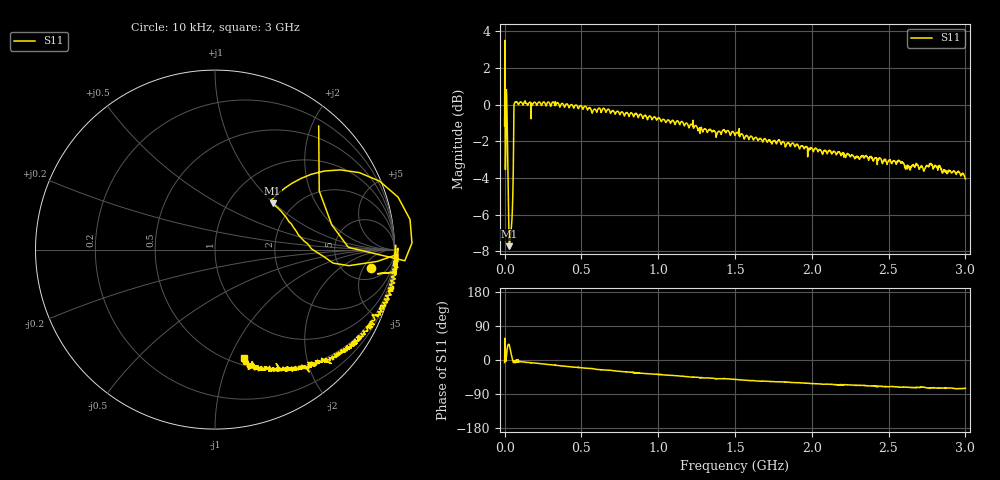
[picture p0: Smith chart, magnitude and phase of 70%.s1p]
# HZ S RI R 50
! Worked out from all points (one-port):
!   2020 points, 10 kHz to 3 GHz, reference 50 ohm
!   lowest |S11| = -7.7 dB at 31.21 MHz (marker M1), VSWR 2.40, Z = 78.7 + j48.8 ohm
!   |S11| at or under -10 dB: nowhere
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10000  0.869 -0.1026
5953516  0.6507 0.1377
1.635467e7  0.8044 0.4288
1.932643e7  0.6093 0.4378
2.378406e7  0.4285 0.3692
2.675582e7  0.3581 0.3181
3.121346e7  0.3204 0.2575
3.715698e7  0.3834 0.1952
4.310049e7  0.4384 0.1223
5.350164e7  0.5671 -0.0141
6.39028e7  1.005 -0.0509
7.133219e7  1.017 -0.0259
7.578983e7  1.018 0.0072
3.759374e8  0.9691 -0.2764
7.503789e8  0.8129 -0.469
8.974809e8  0.7557 -0.5306
1.126306e9  0.676 -0.6007
1.286781e9  0.5815 -0.6199
1.500748e9  0.5177 -0.6412
1.658251e9  0.4545 -0.668
1.875189e9  0.3973 -0.6779
2.071325e9  0.322 -0.6602
2.251117e9  0.2937 -0.6591
2.575038e9  0.2181 -0.6653
2.625558e9  0.2113 -0.642
2.726598e9  0.2048 -0.6306
2.771174e9  0.1926 -0.659
3e9  0.1635 -0.6052
